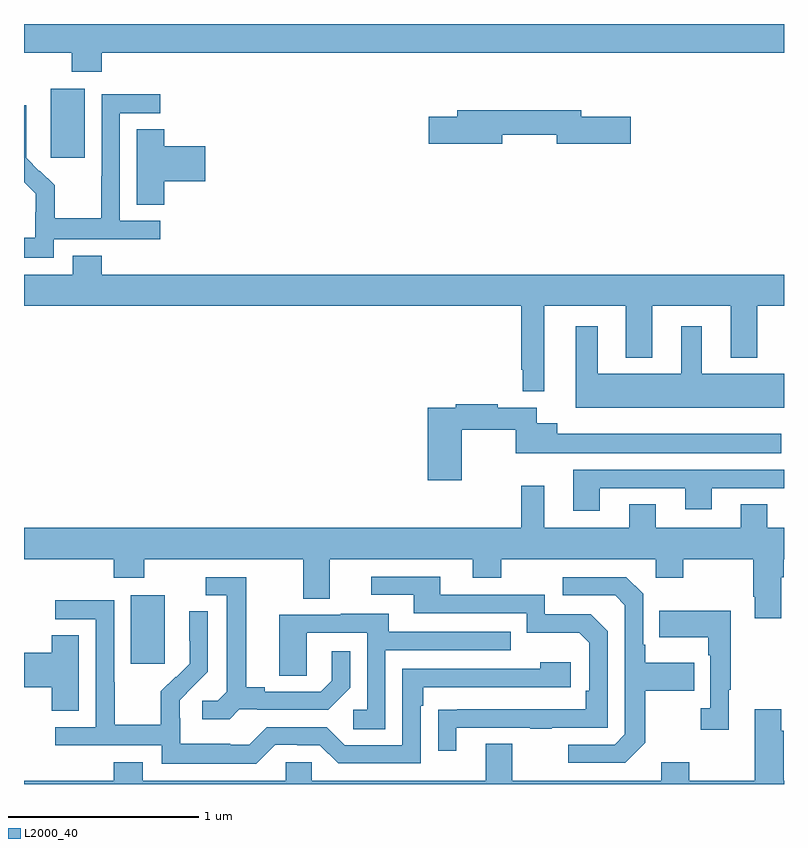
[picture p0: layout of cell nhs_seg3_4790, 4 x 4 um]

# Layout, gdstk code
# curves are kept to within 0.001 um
import gdstk
lib = gdstk.Library(unit=1e-6, precision=1e-09)
def R(c, l, rs):  # rectangles x0, y0, x1, y1
    for r in rs: c.add(gdstk.rectangle(r[:2], r[2:], *l))
def P(c, l, *ps):  # polygons
    for p in ps: c.add(gdstk.Polygon(p, *l))
L2000_40 = (2000, 40)

nhs_seg3_4790 = lib.new_cell('nhs_seg3_4790')
R(nhs_seg3_4790, L2000_40, [(369.563,699.033,369.742,699.394), (369.14,701.697,369.319,702.058)])
P(nhs_seg3_4790, L2000_40, [(369.41,702.248),(373,702.248),(373,702.4),(369,702.4),(369,702.248),(369.25,702.248),(369.25,702.149),(369.41,702.149)],
  [(369.156,701.268),(369.718,701.268),(369.718,701.364),(369.504,701.364),(369.504,701.931),(369.718,701.931),(369.718,702.03),(369.408,702.03),(369.408,701.6),(369.406,701.6),(369.406,701.377),(369.161,701.377),(369.161,701.551),(369.084,701.628),(369.081,701.625),(369.011,701.696),(369.012,701.972),(369,701.972),(369,701.568),(369.062,701.506),(369.062,701.409),(369.06,701.409),(369.06,701.275),(369,701.275),(369,701.171),(369.156,701.171)],
  [(371.518,701.818),(371.804,701.818),(371.804,701.771),(372.193,701.771),(372.193,701.913),(371.932,701.913),(371.932,701.947),(371.279,701.947),(371.279,701.913),(371.13,701.913),(371.13,701.771),(371.518,701.771)],
  [(369.737,701.573),(369.955,701.573),(369.955,701.756),(369.737,701.756),(369.737,701.846),(369.593,701.846),(369.593,701.449),(369.737,701.449)],
  [(371.737,700.916),(372.167,700.916),(372.167,700.643),(372.307,700.643),(372.307,700.916),(372.719,700.916),(372.719,700.643),(372.859,700.643),(372.859,700.916),(373,700.916),(373,701.08),(369.41,701.08),(369.41,701.179),(369.257,701.179),(369.257,701.08),(369,701.08),(369,700.916),(371.616,700.916),(371.616,700.579),(371.624,700.579),(371.624,700.467),(371.737,700.467)],
  [(373,700.558),(372.568,700.558),(372.568,700.81),(372.458,700.81),(372.458,700.558),(372.019,700.558),(372.019,700.81),(371.903,700.81),(371.903,700.379),(373,700.379)],
  [(371.304,700.264),(371.589,700.264),(371.589,700.142),(372.985,700.142),(372.985,700.243),(371.806,700.243),(371.806,700.3),(371.699,700.3),(371.699,700.38),(371.494,700.38),(371.494,700.4),(371.272,700.4),(371.272,700.38),(371.126,700.38),(371.126,699.999),(371.304,699.999)],
  [(372.031,699.957),(372.479,699.957),(372.479,699.845),(372.619,699.845),(372.619,699.957),(373,699.957),(373,700.053),(371.891,700.053),(371.891,699.837),(372.031,699.837)],
  [(372.985,699.488),(372.998,699.488),(372.998,699.584),(373,699.584),(373,699.748),(372.913,699.748),(372.913,699.872),(372.773,699.872),(372.773,699.748),(372.325,699.748),(372.325,699.872),(372.185,699.872),(372.185,699.748),(371.737,699.748),(371.737,699.97),(371.616,699.97),(371.616,699.748),(369,699.748),(369,699.584),(369.473,699.584),(369.473,699.485),(369.633,699.485),(369.633,699.584),(370.469,699.584),(370.469,699.376),(370.609,699.376),(370.609,699.584),(371.363,699.584),(371.363,699.485),(371.511,699.485),(371.511,699.584),(372.324,699.584),(372.324,699.485),(372.471,699.485),(372.471,699.584),(372.838,699.584),(372.838,699.385),(372.845,699.385),(372.845,699.273),(372.985,699.273)],
  [(371.275,698.697),(371.665,698.697),(371.665,698.692),(371.777,698.692),(371.777,698.697),(372.072,698.697),(372.072,699.204),(371.982,699.294),(371.742,699.294),(371.742,699.396),(371.191,699.396),(371.191,699.492),(370.827,699.492),(370.827,699.396),(371.051,699.396),(371.051,699.3),(371.646,699.3),(371.646,699.197),(371.923,699.197),(371.976,699.144),(371.976,698.89),(371.956,698.89),(371.956,698.793),(371.179,698.792),(371.179,698.574),(371.275,698.574)],
  [(370.134,698.793),(370.228,698.793),(370.228,698.79),(370.6,698.79),(370.716,698.906),(370.716,699.1),(370.619,699.1),(370.619,698.943),(370.562,698.886),(370.267,698.886),(370.267,698.909),(370.171,698.909),(370.171,699.489),(369.957,699.489),(369.957,699.393),(370.067,699.393),(370.067,698.885),(370.02,698.838),(369.939,698.838),(369.939,698.741),(370.082,698.741)],
  [(372.271,698.617),(372.271,698.89),(372.527,698.89),(372.527,699.037),(372.271,699.037),(372.271,699.133),(372.258,699.133),(372.258,699.402),(372.171,699.489),(371.835,699.489),(371.835,699.393),(372.111,699.393),(372.162,699.342),(372.162,698.661),(372.108,698.607),(371.865,698.607),(371.865,698.511),(372.165,698.511)],
  [(370.323,698.607),(370.439,698.607),(370.439,698.604),(370.557,698.604),(370.653,698.508),(371.088,698.508),(371.088,698.813),(371.101,698.813),(371.101,698.91),(371.878,698.91),(371.878,699.04),(371.717,699.04),(371.717,699.006),(370.992,699.006),(370.992,698.604),(370.689,698.604),(370.593,698.7),(370.278,698.7),(370.185,698.607),(370.085,698.607),(370.085,698.611),(369.822,698.611),(369.822,698.745),(369.82,698.745),(369.82,698.842),(369.966,698.99),(369.966,699.308),(369.87,699.308),(369.87,699.154),(369.872,699.154),(369.872,699.032),(369.801,698.961),(369.798,698.964),(369.721,698.887),(369.721,698.713),(369.477,698.713),(369.477,698.936),(369.474,698.936),(369.474,699.366),(369.165,699.366),(369.165,699.267),(369.378,699.267),(369.378,698.7),(369.165,698.7),(369.165,698.604),(369.726,698.604),(369.726,698.507),(370.223,698.507)],
  [(372.709,698.897),(372.721,698.897),(372.721,699.313),(372.343,699.313),(372.343,699.173),(372.6,699.173),(372.6,699.077),(372.612,699.077),(372.612,698.798),(372.561,698.798),(372.561,698.685),(372.709,698.685)],
  [(370.902,699.105),(371.561,699.105),(371.561,699.201),(370.921,699.201),(370.921,699.295),(370.667,699.295),(370.667,699.291),(370.343,699.291),(370.343,698.971),(370.488,698.971),(370.488,699.195),(370.806,699.195),(370.806,698.79),(370.734,698.79),(370.734,698.689),(370.902,698.689)],
  [(369.289,699.182),(369.146,699.182),(369.146,699.092),(369,699.092),(369,698.909),(369.146,698.909),(369.146,698.785),(369.289,698.785)],
  [(373,698.416),(372.998,698.416),(372.998,698.681),(372.985,698.681),(372.985,698.794),(372.845,698.794),(372.845,698.416),(372.501,698.416),(372.501,698.515),(372.353,698.515),(372.353,698.416),(371.569,698.416),(371.569,698.611),(371.429,698.611),(371.429,698.416),(370.515,698.416),(370.515,698.514),(370.377,698.514),(370.377,698.416),(369.625,698.416),(369.625,698.515),(369.473,698.515),(369.473,698.416),(369,698.416),(369,698.4),(373,698.4)])

lib.write_gds('nhs_seg3_4790.gds')
